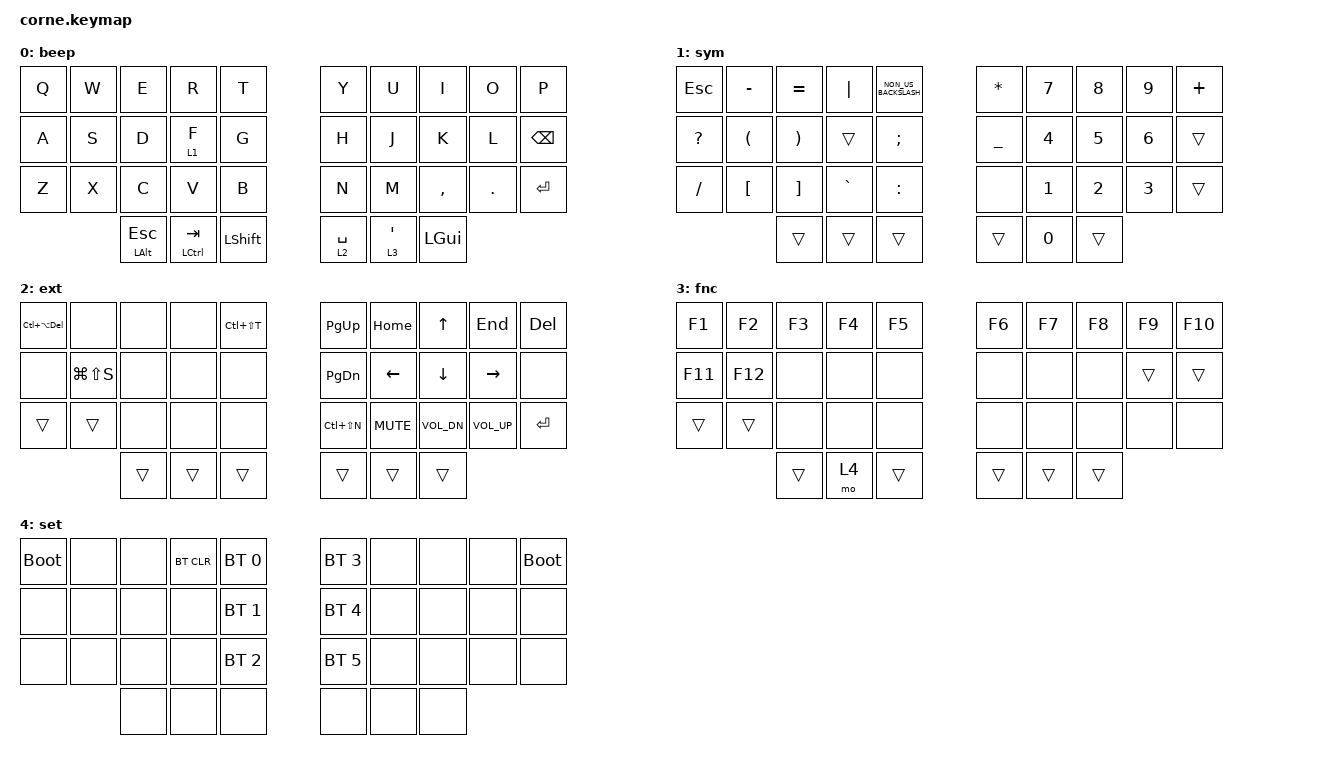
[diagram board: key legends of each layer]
/*
 * Copyright (c) 2020 The ZMK Contributors
 *
 * SPDX-License-Identifier: MIT
 */

#include <behaviors.dtsi>
#include <dt-bindings/zmk/bt.h>
#include <dt-bindings/zmk/keys.h>

/ {
    chosen { zmk,matrix_transform = &five_column_transform; };

    keymap {
        compatible = "zmk,keymap";

        default_layer {
            display-name = "beep";
            bindings = <
  &kp Q  &kp W  &kp E                &kp R          &kp T             &kp Y        &kp U      &kp I         &kp O    &kp P
  &kp A  &kp S  &kp D                &lt 1 F        &kp G             &kp H        &kp J      &kp K         &kp L    &kp BACKSPACE
  &kp Z  &kp X  &kp C                &kp V          &kp B             &kp N        &kp M      &kp COMMA     &kp DOT  &kp ENTER
                &mt LEFT_ALT ESCAPE  &mt LCTRL TAB  &kp LEFT_SHIFT    &lt 2 SPACE  &lt 3 SQT  &kp LEFT_GUI
            >;
        };

        sym_layer {
            display-name = "sym";
            bindings = <
  &kp ESCAPE    &kp MINUS             &kp EQUAL              &kp PIPE   &kp NON_US_BACKSLASH    &kp ASTERISK  &kp N7        &kp N8        &kp N9        &kp PLUS
  &kp QUESTION  &kp LEFT_PARENTHESIS  &kp RIGHT_PARENTHESIS  &trans     &kp SEMICOLON           &kp UNDER     &kp NUMBER_4  &kp N5        &kp NUMBER_6  &trans
  &kp SLASH     &kp LEFT_BRACKET      &kp RIGHT_BRACKET      &kp GRAVE  &kp COLON               &none         &kp NUMBER_1  &kp NUMBER_2  &kp NUMBER_3  &trans
                                      &trans                 &trans     &trans                  &trans        &kp N0        &trans
            >;
        };

        ext_layer {
            display-name = "ext";
            bindings = <
  &kp LC(LA(DEL))  &none          &none   &none   &kp LC(LS(T))    &kp PAGE_UP    &kp HOME    &kp UP        &kp END          &kp DEL
  &none            &kp LG(LS(S))  &none   &none   &none            &kp PAGE_DOWN  &kp LEFT    &kp DOWN      &kp RIGHT        &none
  &trans           &trans         &none   &none   &none            &kp LC(LS(N))  &kp C_MUTE  &kp C_VOL_DN  &kp C_VOLUME_UP  &kp ENTER
                                  &trans  &trans  &trans           &trans         &trans      &trans
            >;
        };

        fnc_layer {
            display-name = "fnc";
            bindings = <
  &kp F1   &kp F2   &kp F3  &kp F4  &kp F5    &kp F6  &kp F7  &kp F8  &kp F9  &kp F10
  &kp F11  &kp F12  &none   &none   &none     &none   &none   &none   &trans  &trans
  &trans   &trans   &none   &none   &none     &none   &none   &none   &none   &none
                    &trans  &mo 4   &trans    &trans  &trans  &trans
            >;
        };

        settings_layer {
            display-name = "set";
            bindings = <
  &bootloader  &none  &none  &bt BT_CLR  &bt BT_SEL 0    &bt BT_SEL 3  &none  &none  &none  &bootloader
  &none        &none  &none  &none       &bt BT_SEL 1    &bt BT_SEL 4  &none  &none  &none  &none
  &none        &none  &none  &none       &bt BT_SEL 2    &bt BT_SEL 5  &none  &none  &none  &none
                      &none  &none       &none           &none         &none  &none
            >;
        };
    };
};
